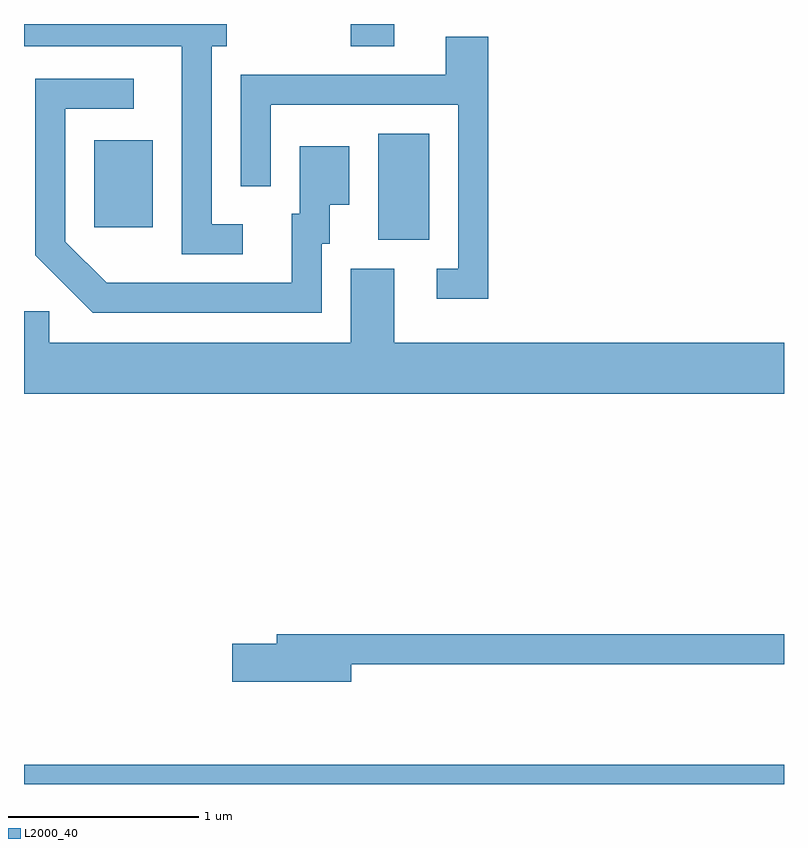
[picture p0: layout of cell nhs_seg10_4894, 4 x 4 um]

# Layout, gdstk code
import gdstk
lib = gdstk.Library(unit=1e-6, precision=1e-09)
def R(c, l, rs):  # rectangles x0, y0, x1, y1
    for r in rs: c.add(gdstk.rectangle(r[:2], r[2:], *l))
def P(c, l, *ps):  # polygons
    for p in ps: c.add(gdstk.Polygon(p, *l))
L2000_40 = (2000, 40)

nhs_seg10_4894 = lib.new_cell('nhs_seg10_4894')
R(nhs_seg10_4894, L2000_40, [(329.611,2118.522,333.611,2118.624), (331.476,2121.386,331.744,2121.944), (329.981,2121.451,330.289,2121.909), (331.331,2122.406,331.559,2122.522)])
P(nhs_seg10_4894, L2000_40, [(330.763,2121.469),(330.599,2121.469),(330.599,2122.406),(330.678,2122.406),(330.678,2122.522),(329.611,2122.522),(329.611,2122.405),(329.612,2122.406),(330.441,2122.406),(330.441,2121.311),(330.763,2121.311)],
  [(332.054,2122.454),(331.831,2122.454),(331.831,2122.254),(330.751,2122.254),(330.751,2121.668),(330.909,2121.668),(330.909,2122.096),(331.896,2122.096),(331.896,2121.234),(331.783,2121.234),(331.783,2121.076),(332.054,2121.076)],
  [(331.179,2121.366),(331.219,2121.366),(331.219,2121.571),(331.324,2121.571),(331.324,2121.879),(331.061,2121.879),(331.061,2121.524),(331.021,2121.524),(331.021,2121.159),(330.047,2121.159),(329.829,2121.377),(329.829,2122.076),(330.188,2122.076),(330.188,2122.234),(329.671,2122.234),(329.671,2121.304),(329.974,2121.001),(331.179,2121.001)],
  [(333.611,2120.844),(331.559,2120.844),(331.559,2121.234),(331.331,2121.234),(331.331,2120.844),(329.744,2120.844),(329.744,2121.009),(329.611,2121.009),(329.611,2120.576),(333.611,2120.576)],
  [(331.334,2119.151),(333.611,2119.151),(333.611,2119.309),(330.941,2119.309),(330.941,2119.259),(330.706,2119.259),(330.706,2119.061),(331.334,2119.061)])

lib.write_gds('nhs_seg10_4894.gds')
